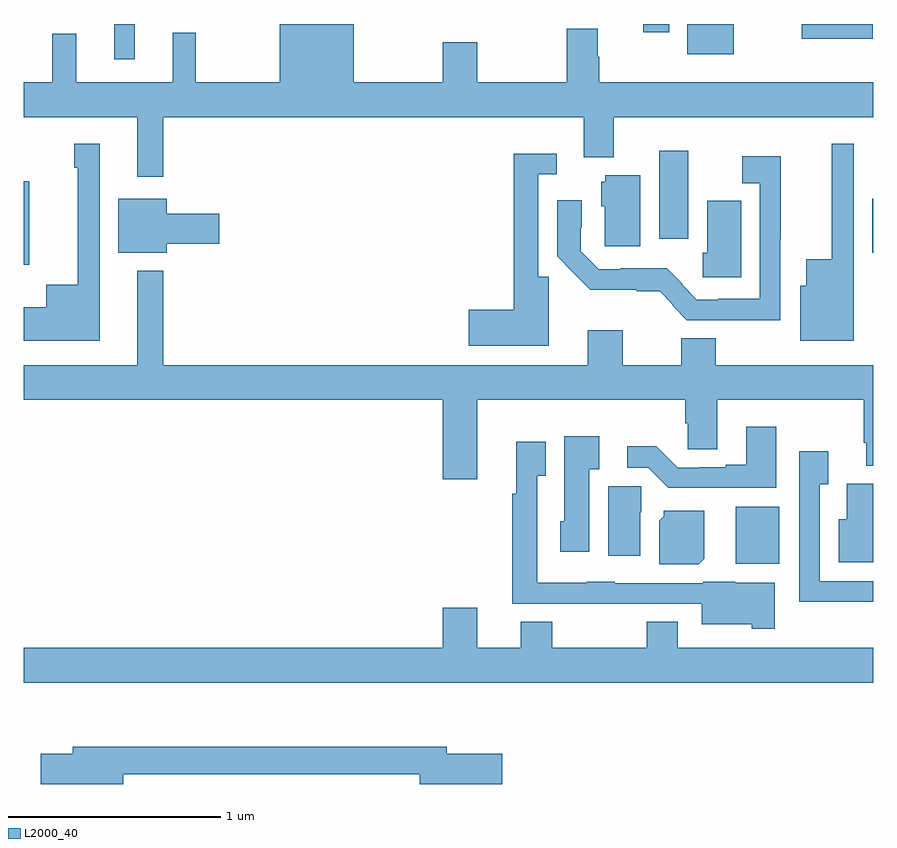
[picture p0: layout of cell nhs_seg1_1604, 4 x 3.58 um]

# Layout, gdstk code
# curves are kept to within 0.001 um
import gdstk
lib = gdstk.Library(unit=1e-6, precision=1e-09)
def R(c, l, rs):  # rectangles x0, y0, x1, y1
    for r in rs: c.add(gdstk.rectangle(r[:2], r[2:], *l))
def P(c, l, *ps):  # polygons
    for p in ps: c.add(gdstk.Polygon(p, *l))
L2000_40 = (2000, 40)

nhs_seg1_1604 = lib.new_cell('nhs_seg1_1604')
R(nhs_seg1_1604, L2000_40, [(202.352,521.657,202.558,521.926), (199,523.065,199.024,523.459), (202.997,523.121,203,523.375), (201.992,523.188,202.129,523.603), (199.425,524.034,199.522,524.199), (202.124,524.057,202.344,524.199), (202.665,524.129,202.998,524.199), (201.917,524.16,202.039,524.199)])
P(nhs_seg1_1604, L2000_40, [(199.657,523.76),(201.638,523.76),(201.638,523.571),(201.778,523.571),(201.778,523.76),(203,523.76),(203,523.924),(201.711,523.924),(201.711,524.045),(201.703,524.045),(201.703,524.176),(201.556,524.176),(201.556,523.924),(201.136,523.924),(201.136,524.113),(200.972,524.113),(200.972,523.924),(200.554,523.924),(200.554,524.199),(200.204,524.199),(200.204,523.924),(199.81,523.924),(199.81,524.158),(199.7,524.158),(199.7,523.924),(199.247,523.924),(199.247,524.152),(199.134,524.152),(199.134,523.924),(199,523.924),(199,523.76),(199.535,523.76),(199.535,523.479),(199.657,523.479)],
  [(202.909,523.636),(202.805,523.636),(202.805,523.09),(202.685,523.09),(202.685,522.966),(202.658,522.966),(202.658,522.707),(202.909,522.707)],
  [(199.357,523.636),(199.236,523.636),(199.236,523.523),(199.253,523.523),(199.253,522.97),(199.106,522.97),(199.106,522.865),(199,522.865),(199,522.707),(199.357,522.707)],
  [(201.473,523.008),(201.423,523.008),(201.423,523.491),(201.511,523.491),(201.511,523.588),(201.307,523.588),(201.307,522.854),(201.096,522.854),(201.096,522.683),(201.473,522.683)],
  [(202.563,523.186),(202.566,523.186),(202.566,523.576),(202.384,523.576),(202.384,523.448),(202.467,523.448),(202.467,522.904),(202.27,522.904),(202.27,522.9),(202.17,522.9),(202.098,522.972),(202.101,522.975),(202.027,523.049),(201.808,523.049),(201.808,523.044),(201.708,523.044),(201.624,523.128),(201.624,523.241),(201.628,523.241),(201.628,523.369),(201.512,523.369),(201.512,523.104),(201.667,522.947),(201.887,522.947),(201.887,522.939),(201.995,522.939),(202.057,522.877),(202.053,522.873),(202.123,522.803),(202.563,522.803)],
  [(201.904,523.486),(201.738,523.486),(201.738,523.455),(201.719,523.455),(201.719,523.341),(201.735,523.341),(201.735,523.152),(201.904,523.152)],
  [(199.672,523.163),(199.921,523.163),(199.921,523.305),(199.672,523.305),(199.672,523.375),(199.445,523.375),(199.445,523.121),(199.672,523.121)],
  [(202.378,523.367),(202.22,523.367),(202.22,523.122),(202.197,523.122),(202.197,523.005),(202.378,523.005)],
  [(201.136,522.428),(202.115,522.428),(202.115,522.318),(202.128,522.318),(202.128,522.196),(202.267,522.196),(202.267,522.428),(202.955,522.428),(202.955,522.226),(202.967,522.226),(202.967,522.119),(203,522.119),(203,522.592),(202.258,522.592),(202.258,522.718),(202.097,522.718),(202.097,522.592),(201.82,522.592),(201.82,522.757),(201.656,522.757),(201.656,522.592),(199.657,522.592),(199.657,523.036),(199.535,523.036),(199.535,522.592),(199,522.592),(199,522.428),(200.972,522.428),(200.972,522.054),(201.136,522.054)],
  [(202.543,522.301),(202.403,522.301),(202.403,522.124),(202.307,522.124),(202.307,522.111),(202.18,522.111),(202.18,522.108),(202.08,522.108),(201.978,522.211),(201.843,522.211),(201.843,522.108),(201.942,522.108),(202.036,522.014),(202.543,522.014)],
  [(201.664,522.102),(201.709,522.102),(201.709,522.256),(201.545,522.256),(201.545,521.856),(201.527,521.856),(201.527,521.712),(201.664,521.712)],
  [(202.537,521.566),(202.35,521.566),(202.35,521.572),(202.2,521.572),(202.2,521.565),(201.783,521.565),(201.783,521.572),(201.651,521.572),(201.651,521.566),(201.417,521.566),(201.417,522.071),(201.457,522.071),(201.457,522.232),(201.32,522.232),(201.32,521.987),(201.301,521.987),(201.301,521.469),(201.551,521.469),(201.551,521.468),(201.783,521.468),(201.783,521.469),(202.193,521.469),(202.193,521.372),(202.428,521.372),(202.428,521.351),(202.537,521.351)],
  [(202.925,521.478),(203,521.478),(203,521.574),(202.749,521.574),(202.749,522.031),(202.789,522.031),(202.789,522.187),(202.653,522.187),(202.653,521.477),(202.925,521.477)],
  [(203,522.034),(202.877,522.034),(202.877,521.866),(202.838,521.866),(202.838,521.663),(203,521.663)],
  [(201.904,521.898),(201.908,521.898),(201.908,522.021),(201.752,522.021),(201.752,521.694),(201.904,521.694)],
  [(202.204,521.68),(202.204,521.905),(202.014,521.905),(202.014,521.88),(201.992,521.858),(201.992,521.654),(202.178,521.654)],
  [(203,521.26),(202.081,521.26),(202.081,521.384),(201.934,521.384),(201.934,521.26),(201.489,521.26),(201.489,521.384),(201.341,521.384),(201.341,521.26),(201.136,521.26),(201.136,521.449),(200.972,521.449),(200.972,521.26),(199,521.26),(199,521.096),(203,521.096)],
  [(199.468,520.666),(200.864,520.666),(200.864,520.619),(201.253,520.619),(201.253,520.761),(200.992,520.761),(200.992,520.795),(199.229,520.795),(199.229,520.761),(199.08,520.761),(199.08,520.619),(199.468,520.619)])

lib.write_gds('nhs_seg1_1604.gds')
